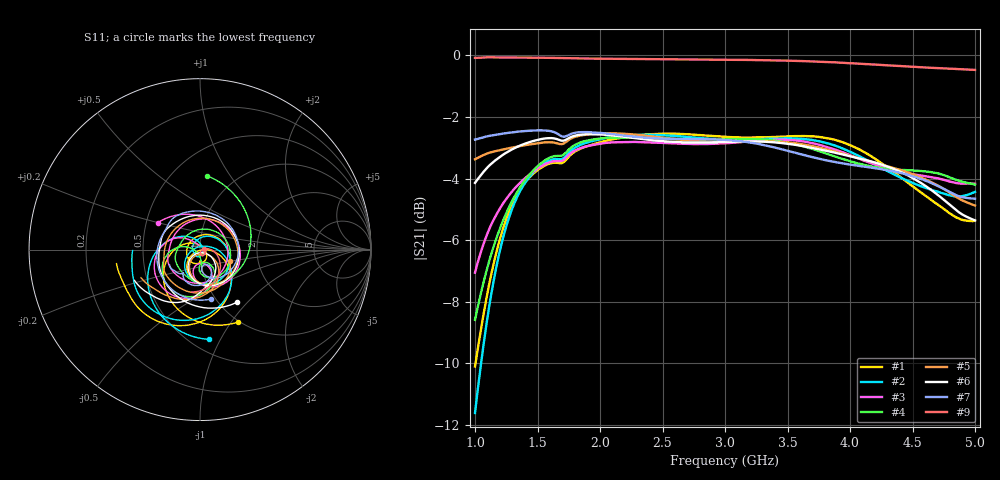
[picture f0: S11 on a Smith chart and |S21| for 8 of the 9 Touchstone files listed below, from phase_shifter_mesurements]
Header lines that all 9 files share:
!Agilent Technologies,N5224A,MY51441093,A.09.90.21
!Agilent N5224A: A.09.90.21
!Correction: S11(Full 2 Port(1,2))
!S21(Full 2 Port(1,2))
!S12(Full 2 Port(1,2))
!S22(Full 2 Port(1,2))
!S2P File: Measurements: S11, S21, S12, S22:
# Hz S  dB  R 50
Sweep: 1 GHz to 5 GHz
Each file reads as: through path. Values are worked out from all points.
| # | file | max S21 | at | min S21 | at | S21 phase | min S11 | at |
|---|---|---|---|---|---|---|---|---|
| 1 | 00.s2p | -2.54 dB | 2.54 GHz | -10.1 dB | 1 GHz | 50 deg at 3 GHz | -45.4 dB | 3.74 GHz |
| 2 | 01.s2p | -2.58 dB | 2.35 GHz | -11.6 dB | 1 GHz | 28 deg at 3 GHz | -36.0 dB | 1.55 GHz |
| 3 | 02.s2p | -2.74 dB | 3.44 GHz | -7.1 dB | 1 GHz | 7 deg at 3 GHz | -31.5 dB | 5 GHz |
| 4 | 03.s2p | -2.67 dB | 2.14 GHz | -8.6 dB | 1 GHz | -15 deg at 3 GHz | -32.4 dB | 4.83 GHz |
| 5 | 04.s2p | -2.53 dB | 2.1 GHz | -4.9 dB | 5 GHz | -35 deg at 3 GHz | -31.8 dB | 3.51 GHz |
| 6 | 05.s2p | -2.56 dB | 1.91 GHz | -5.4 dB | 5 GHz | -56 deg at 3 GHz | -35.1 dB | 3.39 GHz |
| 7 | 06.s2p | -2.44 dB | 1.52 GHz | -4.7 dB | 5 GHz | -79 deg at 3 GHz | -20.7 dB | 3.14 GHz |
| 8 | 07.s2p | -1.93 dB | 1.11 GHz | -4.8 dB | 4.93 GHz | -102 deg at 3 GHz | -26.3 dB | 2.87 GHz |
| 9 | ref.s2p | -0.06 dB | 1.11 GHz | -0.5 dB | 5 GHz | 135 deg at 3 GHz | -39.7 dB | 2.96 GHz |
